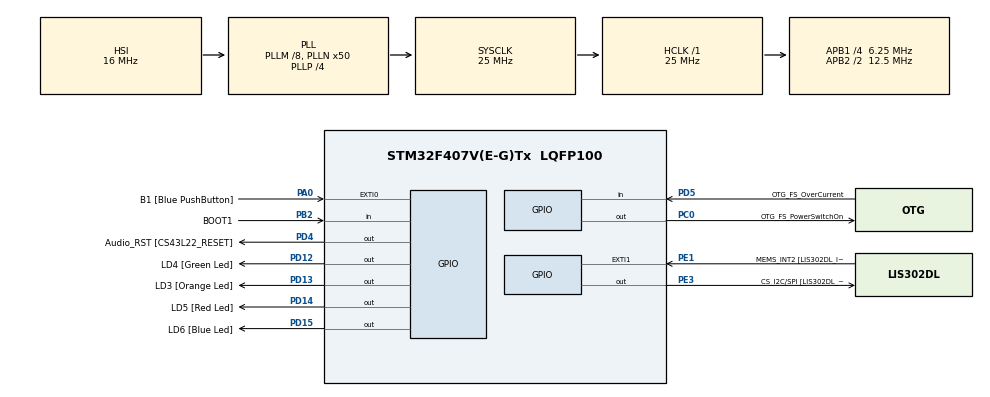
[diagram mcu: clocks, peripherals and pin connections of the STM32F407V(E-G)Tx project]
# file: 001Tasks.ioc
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Mcu.Family=STM32F4
Mcu.Name=STM32F407V(E-G)Tx
Mcu.Package=LQFP100
NVIC.PriorityGroup=NVIC_PRIORITYGROUP_4
NVIC.TIM6_DAC_IRQn=true\:15\:0\:false\:false\:true\:false\:true\:true
NVIC.TimeBase=TIM6_DAC_IRQn
NVIC.TimeBaseIP=TIM6
PA0-WKUP.GPIO_Label=B1 [Blue PushButton]
PA0-WKUP.Signal=GPXTI0
PA10.GPIO_Label=OTG_FS_ID
PA10.GPIO_Mode=GPIO_MODE_AF_PP
PA10.GPIO_PuPd=GPIO_NOPULL
PA10.GPIO_Speed=GPIO_SPEED_FREQ_LOW
PA10.Signal=USB_OTG_FS_ID
PA11.GPIO_Label=OTG_FS_DM
PA11.GPIO_Mode=GPIO_MODE_AF_PP
PA11.GPIO_PuPd=GPIO_NOPULL
PA11.GPIO_Speed=GPIO_SPEED_FREQ_LOW
PA11.Signal=USB_OTG_FS_DM
PA12.GPIO_Label=OTG_FS_DP
PA12.GPIO_Mode=GPIO_MODE_AF_PP
PA12.GPIO_PuPd=GPIO_NOPULL
PA12.GPIO_Speed=GPIO_SPEED_FREQ_LOW
PA12.Signal=USB_OTG_FS_DP
PA13.GPIO_Label=SWDIO
PA13.Mode=Trace_Asynchronous_SW
PA13.Signal=SYS_JTMS-SWDIO
PA14.GPIO_Label=SWCLK
PA14.Mode=Trace_Asynchronous_SW
PA14.Signal=SYS_JTCK-SWCLK
PA4.GPIO_Label=I2S3_WS [CS43L22_LRCK]
PA4.GPIO_Mode=GPIO_MODE_AF_PP
PA4.GPIO_PuPd=GPIO_NOPULL
PA4.GPIO_Speed=GPIO_SPEED_FREQ_LOW
PA4.Signal=I2S3_WS
PA5.GPIO_Label=SPI1_SCK [LIS302DL_SCL/SPC]
PA5.GPIO_Mode=GPIO_MODE_AF_PP
PA5.GPIO_PuPd=GPIO_NOPULL
PA5.GPIO_Speed=GPIO_SPEED_FREQ_LOW
PA5.Signal=SPI1_SCK
PA6.GPIO_Label=SPI1_MISO [LIS302DL_SDO]
PA6.GPIO_Mode=GPIO_MODE_AF_PP
PA6.GPIO_PuPd=GPIO_NOPULL
PA6.GPIO_Speed=GPIO_SPEED_FREQ_LOW
PA6.Signal=SPI1_MISO
PA7.GPIO_Label=SPI1_MOSI [LIS302DL_SDA/SDI/SDO]
PA7.GPIO_Mode=GPIO_MODE_AF_PP
PA7.GPIO_PuPd=GPIO_NOPULL
PA7.GPIO_Speed=GPIO_SPEED_FREQ_LOW
PA7.Signal=SPI1_MOSI
PA9.GPIO_Label=VBUS_FS
PA9.GPIO_Mode=GPIO_MODE_INPUT
PA9.GPIO_PuPd=GPIO_NOPULL
PA9.Signal=USB_OTG_FS_VBUS
PB10.GPIO_Label=CLK_IN [MP45DT02_CLK]
PB10.GPIO_Mode=GPIO_MODE_AF_PP
PB10.GPIO_PuPd=GPIO_NOPULL
PB10.GPIO_Speed=GPIO_SPEED_FREQ_LOW
PB10.Signal=I2S2_CK
PB2.GPIO_Label=BOOT1
PB2.GPIO_Mode=GPIO_MODE_INPUT
PB2.GPIO_PuPd=GPIO_NOPULL
PB2.Signal=GPIO_Input
PB3.GPIO_Label=SWO
PB3.Mode=Trace_Asynchronous_SW
PB3.Signal=SYS_JTDO-SWO
PB6.GPIO_Label=Audio_SCL [CS43L22_SCL]
PB6.GPIO_Mode=GPIO_MODE_AF_OD
PB6.GPIO_PuPd=GPIO_NOPULL
PB6.GPIO_Speed=GPIO_SPEED_FREQ_LOW
PB6.Signal=I2C1_SCL
PB9.GPIO_Label=Audio_SDA [CS43L22_SDA]
PB9.GPIO_Mode=GPIO_MODE_AF_OD
PB9.GPIO_PuPd=GPIO_NOPULL
PB9.GPIO_Speed=GPIO_SPEED_FREQ_LOW
PB9.Signal=I2C1_SDA
PC0.GPIO_Label=OTG_FS_PowerSwitchOn
PC0.GPIO_PuPd=GPIO_NOPULL
PC0.GPIO_Speed=GPIO_SPEED_FREQ_LOW
PC0.PinState=GPIO_PIN_SET
PC0.Signal=GPIO_Output
PC10.GPIO_Label=I2S3_SCK [CS43L22_SCLK]
PC10.GPIO_Mode=GPIO_MODE_AF_PP
PC10.GPIO_PuPd=GPIO_NOPULL
PC10.GPIO_Speed=GPIO_SPEED_FREQ_LOW
PC10.Signal=I2S3_CK
PC12.GPIO_Label=I2S3_SD [CS43L22_SDIN]
PC12.GPIO_Mode=GPIO_MODE_AF_PP
PC12.GPIO_PuPd=GPIO_NOPULL
PC12.GPIO_Speed=GPIO_SPEED_FREQ_LOW
PC12.Signal=I2S3_SD
PC14-OSC32_IN.GPIO_Label=PC14-OSC32_IN
PC14-OSC32_IN.Signal=RCC_OSC32_IN
PC15-OSC32_OUT.GPIO_Label=PC15-OSC32_OUT
PC15-OSC32_OUT.Signal=RCC_OSC32_OUT
PC3.GPIO_Label=PDM_OUT [MP45DT02_DOUT]
PC3.GPIO_Mode=GPIO_MODE_AF_PP
PC3.GPIO_PuPd=GPIO_NOPULL
PC3.GPIO_Speed=GPIO_SPEED_FREQ_LOW
PC3.Signal=I2S2_SD
PC7.GPIO_Label=I2S3_MCK [CS43L22_MCLK]
PC7.GPIO_Mode=GPIO_MODE_AF_PP
PC7.GPIO_PuPd=GPIO_NOPULL
PC7.GPIO_Speed=GPIO_SPEED_FREQ_LOW
PC7.Signal=I2S3_MCK
PD12.GPIO_Label=LD4 [Green Led]
PD12.GPIO_PuPd=GPIO_NOPULL
PD12.GPIO_Speed=GPIO_SPEED_FREQ_LOW
PD12.Signal=GPIO_Output
PD13.GPIO_Label=LD3 [Orange Led]
PD13.GPIO_PuPd=GPIO_NOPULL
PD13.GPIO_Speed=GPIO_SPEED_FREQ_LOW
PD13.Signal=GPIO_Output
PD14.GPIO_Label=LD5 [Red Led]
PD14.GPIO_PuPd=GPIO_NOPULL
PD14.GPIO_Speed=GPIO_SPEED_FREQ_LOW
PD14.Signal=GPIO_Output
PD15.GPIO_Label=LD6 [Blue Led]
PD15.GPIO_PuPd=GPIO_NOPULL
PD15.GPIO_Speed=GPIO_SPEED_FREQ_LOW
PD15.Signal=GPIO_Output
PD4.GPIO_Label=Audio_RST [CS43L22_RESET]
PD4.GPIO_PuPd=GPIO_NOPULL
PD4.GPIO_Speed=GPIO_SPEED_FREQ_LOW
PD4.Signal=GPIO_Output
PD5.GPIO_Label=OTG_FS_OverCurrent
PD5.GPIO_Mode=GPIO_MODE_INPUT
PD5.GPIO_PuPd=GPIO_NOPULL
PD5.Signal=GPIO_Input
PE1.GPIO_Label=MEMS_INT2 [LIS302DL_INT2]
PE1.GPIO_ModeDefaultEXTI=GPIO_MODE_EVT_RISING
PE1.GPIO_PuPd=GPIO_NOPULL
PE1.Signal=GPXTI1
PE3.GPIO_Label=CS_I2C/SPI [LIS302DL_CS_I2C/SPI]
PE3.GPIO_PuPd=GPIO_NOPULL
PE3.GPIO_Speed=GPIO_SPEED_FREQ_LOW
PE3.Signal=GPIO_Output
PH0-OSC_IN.GPIO_Label=PH0-OSC_IN
PH0-OSC_IN.Signal=RCC_OSC_IN
PH1-OSC_OUT.GPIO_Label=PH1-OSC_OUT
PH1-OSC_OUT.Signal=RCC_OSC_OUT
ProjectManager.HeapSize=0x200
ProjectManager.StackSize=0x400
ProjectManager.TargetToolchain=STM32CubeIDE
RCC.48MHZClocksFreq_Value=14285714.285714285
RCC.AHBFreq_Value=25000000
RCC.APB1CLKDivider=RCC_HCLK_DIV4
RCC.APB1Freq_Value=6250000
RCC.APB1TimFreq_Value=12500000
RCC.APB2CLKDivider=RCC_HCLK_DIV2
RCC.APB2Freq_Value=12500000
RCC.APB2TimFreq_Value=25000000
RCC.CortexFreq_Value=25000000
RCC.HCLKFreq_Value=25000000
RCC.HSE_VALUE=8000000
RCC.HSI_VALUE=16000000
RCC.LSE_VALUE=32768
RCC.PLLM=8
RCC.PLLN=50
RCC.PLLP=RCC_PLLP_DIV4
RCC.PLLQ=7
RCC.SYSCLKFreq_VALUE=25000000
RCC.SYSCLKSource=RCC_SYSCLKSOURCE_PLLCLK
RCC.VCOOutputFreq_Value=100000000
VP_SYS_VS_tim6.Mode=TIM6
board=STM32F407G-DISC1

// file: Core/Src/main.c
/* USER CODE BEGIN Header */
/**
  ******************************************************************************
  * @file           : main.c
  * @brief          : Main program body
  ******************************************************************************
  * @attention
  *
  * Copyright (c) 2024 STMicroelectronics.
  * All rights reserved.
  *
  * This software is licensed under terms that can be found in the LICENSE file
  * in the root directory of this software component.
  * If no LICENSE file comes with this software, it is provided AS-IS.
  *
  ******************************************************************************
  */
/* USER CODE END Header */
#include "main.h"

/* USER CODE BEGIN Includes */
#include "FreeRTOS.h"
#include "task.h"
#include "stdlib.h"
#include "stdio.h"
/* USER CODE END Includes */

void SystemClock_Config(void);
static void MX_GPIO_Init(void);
/* USER CODE BEGIN PFP */

static void task1_handler(void *parameters);
static void task2_handler(void *parameters);

/* USER CODE END PFP */

int main(void)
{

  /* USER CODE BEGIN 1 */
TaskHandle_t task1_handle;
TaskHandle_t task2_handle;
BaseType_t status;

  /* USER CODE END 1 */

  /* MCU Configuration--------------------------------------------------------*/

  /* Reset of all peripherals, Initializes the Flash interface and the Systick. */
  HAL_Init();

  /* Configure the system clock */
  SystemClock_Config();

  /* Initialize all configured peripherals */
  MX_GPIO_Init();
  /* USER CODE BEGIN 2 */

  status = xTaskCreate(task1_handler, "Task-1", 200, "Hello world from task-1", 2, &task1_handle);
  configASSERT(status == pdPASS);

  status = xTaskCreate(task2_handler, "Task-2", 200, "Hello world from task-2", 2, &task2_handle);
  configASSERT(status == pdPASS);
	printf("Hebele \n");
  vTaskStartScheduler();

  /* USER CODE END 2 */

  /* Infinite loop */
  while (1)
  {

  }
}

void SystemClock_Config(void)
{
  RCC_OscInitTypeDef RCC_OscInitStruct = {0};
  RCC_ClkInitTypeDef RCC_ClkInitStruct = {0};

  /** Configure the main internal regulator output voltage
  */
  __HAL_RCC_PWR_CLK_ENABLE();
  __HAL_PWR_VOLTAGESCALING_CONFIG(PWR_REGULATOR_VOLTAGE_SCALE1);

  /** Initializes the RCC Oscillators according to the specified parameters
  * in the RCC_OscInitTypeDef structure.
  */
  RCC_OscInitStruct.OscillatorType = RCC_OSCILLATORTYPE_HSI;
  RCC_OscInitStruct.HSIState = RCC_HSI_ON;
  RCC_OscInitStruct.HSICalibrationValue = RCC_HSICALIBRATION_DEFAULT;
  RCC_OscInitStruct.PLL.PLLState = RCC_PLL_ON;
  RCC_OscInitStruct.PLL.PLLSource = RCC_PLLSOURCE_HSI;
  RCC_OscInitStruct.PLL.PLLM = 8;
  RCC_OscInitStruct.PLL.PLLN = 50;
  RCC_OscInitStruct.PLL.PLLP = RCC_PLLP_DIV4;
  RCC_OscInitStruct.PLL.PLLQ = 7;
  if (HAL_RCC_OscConfig(&RCC_OscInitStruct) != HAL_OK)
  {
    Error_Handler();
  }

  /** Initializes the CPU, AHB and APB buses clocks
  */
  RCC_ClkInitStruct.ClockType = RCC_CLOCKTYPE_HCLK|RCC_CLOCKTYPE_SYSCLK
                              |RCC_CLOCKTYPE_PCLK1|RCC_CLOCKTYPE_PCLK2;
  RCC_ClkInitStruct.SYSCLKSource = RCC_SYSCLKSOURCE_PLLCLK;
  RCC_ClkInitStruct.AHBCLKDivider = RCC_SYSCLK_DIV1;
  RCC_ClkInitStruct.APB1CLKDivider = RCC_HCLK_DIV4;
  RCC_ClkInitStruct.APB2CLKDivider = RCC_HCLK_DIV2;

  if (HAL_RCC_ClockConfig(&RCC_ClkInitStruct, FLASH_LATENCY_0) != HAL_OK)
  {
    Error_Handler();
  }
}

static void MX_GPIO_Init(void)
{
  GPIO_InitTypeDef GPIO_InitStruct = {0};

  /* GPIO Ports Clock Enable */
  __HAL_RCC_GPIOE_CLK_ENABLE();
  __HAL_RCC_GPIOC_CLK_ENABLE();
  __HAL_RCC_GPIOH_CLK_ENABLE();
  __HAL_RCC_GPIOA_CLK_ENABLE();
  __HAL_RCC_GPIOB_CLK_ENABLE();
  __HAL_RCC_GPIOD_CLK_ENABLE();

  /*Configure GPIO pin Output Level */
  HAL_GPIO_WritePin(CS_I2C_SPI_GPIO_Port, CS_I2C_SPI_Pin, GPIO_PIN_RESET);

  /*Configure GPIO pin Output Level */
  HAL_GPIO_WritePin(OTG_FS_PowerSwitchOn_GPIO_Port, OTG_FS_PowerSwitchOn_Pin, GPIO_PIN_SET);

  /*Configure GPIO pin Output Level */
  HAL_GPIO_WritePin(GPIOD, LD4_Pin|LD3_Pin|LD5_Pin|LD6_Pin
                          |Audio_RST_Pin, GPIO_PIN_RESET);

  /*Configure GPIO pin : CS_I2C_SPI_Pin */
  GPIO_InitStruct.Pin = CS_I2C_SPI_Pin;
  GPIO_InitStruct.Mode = GPIO_MODE_OUTPUT_PP;
  GPIO_InitStruct.Pull = GPIO_NOPULL;
  GPIO_InitStruct.Speed = GPIO_SPEED_FREQ_LOW;
  HAL_GPIO_Init(CS_I2C_SPI_GPIO_Port, &GPIO_InitStruct);

  /*Configure GPIO pin : OTG_FS_PowerSwitchOn_Pin */
  GPIO_InitStruct.Pin = OTG_FS_PowerSwitchOn_Pin;
  GPIO_InitStruct.Mode = GPIO_MODE_OUTPUT_PP;
  GPIO_InitStruct.Pull = GPIO_NOPULL;
  GPIO_InitStruct.Speed = GPIO_SPEED_FREQ_LOW;
  HAL_GPIO_Init(OTG_FS_PowerSwitchOn_GPIO_Port, &GPIO_InitStruct);

  /*Configure GPIO pin : PDM_OUT_Pin */
  GPIO_InitStruct.Pin = PDM_OUT_Pin;
  GPIO_InitStruct.Mode = GPIO_MODE_AF_PP;
  GPIO_InitStruct.Pull = GPIO_NOPULL;
  GPIO_InitStruct.Speed = GPIO_SPEED_FREQ_LOW;
  GPIO_InitStruct.Alternate = GPIO_AF5_SPI2;
  HAL_GPIO_Init(PDM_OUT_GPIO_Port, &GPIO_InitStruct);

  /*Configure GPIO pin : B1_Pin */
  GPIO_InitStruct.Pin = B1_Pin;
  GPIO_InitStruct.Mode = GPIO_MODE_IT_RISING;
  GPIO_InitStruct.Pull = GPIO_NOPULL;
  HAL_GPIO_Init(B1_GPIO_Port, &GPIO_InitStruct);

  /*Configure GPIO pin : I2S3_WS_Pin */
  GPIO_InitStruct.Pin = I2S3_WS_Pin;
  GPIO_InitStruct.Mode = GPIO_MODE_AF_PP;
  GPIO_InitStruct.Pull = GPIO_NOPULL;
  GPIO_InitStruct.Speed = GPIO_SPEED_FREQ_LOW;
  GPIO_InitStruct.Alternate = GPIO_AF6_SPI3;
  HAL_GPIO_Init(I2S3_WS_GPIO_Port, &GPIO_InitStruct);

  /*Configure GPIO pins : SPI1_SCK_Pin SPI1_MISO_Pin SPI1_MOSI_Pin */
  GPIO_InitStruct.Pin = SPI1_SCK_Pin|SPI1_MISO_Pin|SPI1_MOSI_Pin;
  GPIO_InitStruct.Mode = GPIO_MODE_AF_PP;
  GPIO_InitStruct.Pull = GPIO_NOPULL;
  GPIO_InitStruct.Speed = GPIO_SPEED_FREQ_LOW;
  GPIO_InitStruct.Alternate = GPIO_AF5_SPI1;
  HAL_GPIO_Init(GPIOA, &GPIO_InitStruct);

  /*Configure GPIO pin : BOOT1_Pin */
  GPIO_InitStruct.Pin = BOOT1_Pin;
  GPIO_InitStruct.Mode = GPIO_MODE_INPUT;
  GPIO_InitStruct.Pull = GPIO_NOPULL;
  HAL_GPIO_Init(BOOT1_GPIO_Port, &GPIO_InitStruct);

  /*Configure GPIO pin : CLK_IN_Pin */
  GPIO_InitStruct.Pin = CLK_IN_Pin;
  GPIO_InitStruct.Mode = GPIO_MODE_AF_PP;
  GPIO_InitStruct.Pull = GPIO_NOPULL;
  GPIO_InitStruct.Speed = GPIO_SPEED_FREQ_LOW;
  GPIO_InitStruct.Alternate = GPIO_AF5_SPI2;
  HAL_GPIO_Init(CLK_IN_GPIO_Port, &GPIO_InitStruct);

  /*Configure GPIO pins : LD4_Pin LD3_Pin LD5_Pin LD6_Pin
                           Audio_RST_Pin */
  GPIO_InitStruct.Pin = LD4_Pin|LD3_Pin|LD5_Pin|LD6_Pin
                          |Audio_RST_Pin;
  GPIO_InitStruct.Mode = GPIO_MODE_OUTPUT_PP;
  GPIO_InitStruct.Pull = GPIO_NOPULL;
  GPIO_InitStruct.Speed = GPIO_SPEED_FREQ_LOW;
  HAL_GPIO_Init(GPIOD, &GPIO_InitStruct);

  /*Configure GPIO pins : I2S3_MCK_Pin I2S3_SCK_Pin I2S3_SD_Pin */
  GPIO_InitStruct.Pin = I2S3_MCK_Pin|I2S3_SCK_Pin|I2S3_SD_Pin;
  GPIO_InitStruct.Mode = GPIO_MODE_AF_PP;
  GPIO_InitStruct.Pull = GPIO_NOPULL;
  GPIO_InitStruct.Speed = GPIO_SPEED_FREQ_LOW;
  GPIO_InitStruct.Alternate = GPIO_AF6_SPI3;
  HAL_GPIO_Init(GPIOC, &GPIO_InitStruct);

  /*Configure GPIO pin : VBUS_FS_Pin */
  GPIO_InitStruct.Pin = VBUS_FS_Pin;
  GPIO_InitStruct.Mode = GPIO_MODE_INPUT;
  GPIO_InitStruct.Pull = GPIO_NOPULL;
  HAL_GPIO_Init(VBUS_FS_GPIO_Port, &GPIO_InitStruct);

  /*Configure GPIO pins : OTG_FS_ID_Pin OTG_FS_DM_Pin OTG_FS_DP_Pin */
  GPIO_InitStruct.Pin = OTG_FS_ID_Pin|OTG_FS_DM_Pin|OTG_FS_DP_Pin;
  GPIO_InitStruct.Mode = GPIO_MODE_AF_PP;
  GPIO_InitStruct.Pull = GPIO_NOPULL;
  GPIO_InitStruct.Speed = GPIO_SPEED_FREQ_LOW;
  GPIO_InitStruct.Alternate = GPIO_AF10_OTG_FS;
  HAL_GPIO_Init(GPIOA, &GPIO_InitStruct);

  /*Configure GPIO pin : OTG_FS_OverCurrent_Pin */
  GPIO_InitStruct.Pin = OTG_FS_OverCurrent_Pin;
  GPIO_InitStruct.Mode = GPIO_MODE_INPUT;
  GPIO_InitStruct.Pull = GPIO_NOPULL;
  HAL_GPIO_Init(OTG_FS_OverCurrent_GPIO_Port, &GPIO_InitStruct);

  /*Configure GPIO pins : Audio_SCL_Pin Audio_SDA_Pin */
  GPIO_InitStruct.Pin = Audio_SCL_Pin|Audio_SDA_Pin;
  GPIO_InitStruct.Mode = GPIO_MODE_AF_OD;
  GPIO_InitStruct.Pull = GPIO_NOPULL;
  GPIO_InitStruct.Speed = GPIO_SPEED_FREQ_LOW;
  GPIO_InitStruct.Alternate = GPIO_AF4_I2C1;
  HAL_GPIO_Init(GPIOB, &GPIO_InitStruct);

  /*Configure GPIO pin : MEMS_INT2_Pin */
  GPIO_InitStruct.Pin = MEMS_INT2_Pin;
  GPIO_InitStruct.Mode = GPIO_MODE_EVT_RISING;
  GPIO_InitStruct.Pull = GPIO_NOPULL;
  HAL_GPIO_Init(MEMS_INT2_GPIO_Port, &GPIO_InitStruct);

}

/* USER CODE BEGIN 4 */
static void task1_handler(void *parameters)
{
	while(1)
	{
		printf("%s\n",(char*)parameters);
	}
}

static void task2_handler(void *parameters)
{
	while(1)
	{
		printf("%s\n",(char*)parameters);
	}
}

/* USER CODE END 4 */

void HAL_TIM_PeriodElapsedCallback(TIM_HandleTypeDef *htim)
{
  if (htim->Instance == TIM6) {
    HAL_IncTick();
  }
}

void Error_Handler(void)
{
  __disable_irq();
  while (1)
  {
  }
}
